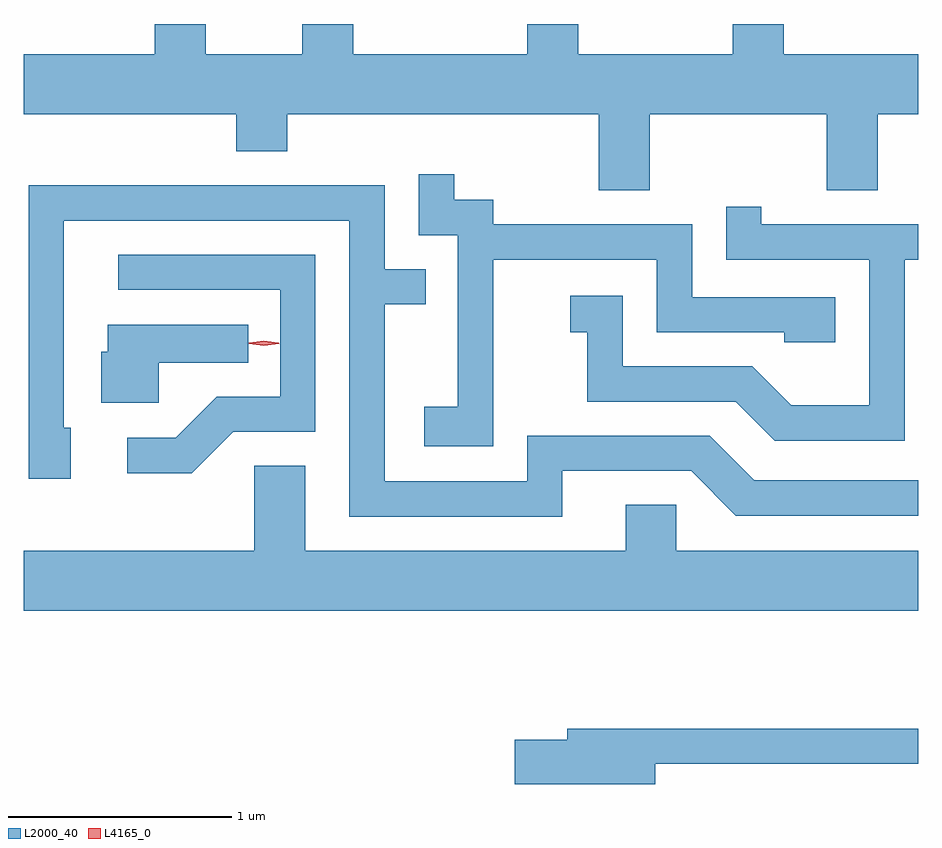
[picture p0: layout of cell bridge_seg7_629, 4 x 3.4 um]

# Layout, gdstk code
import gdstk
lib = gdstk.Library(unit=1e-6, precision=1e-09)
def P(c, l, *ps):  # polygons
    for p in ps: c.add(gdstk.Polygon(p, *l))
L2000_40 = (2000, 40)
L4165_0 = (4165, 0)

bridge_seg7_629 = lib.new_cell('bridge_seg7_629')
P(bridge_seg7_629, L2000_40, [(638.039,1696.556),(638.831,1696.556),(638.831,1696.216),(639.059,1696.216),(639.059,1696.556),(639.24,1696.556),(639.24,1696.824),(638.639,1696.824),(638.639,1696.96),(638.411,1696.96),(638.411,1696.824),(637.719,1696.824),(637.719,1696.96),(637.491,1696.96),(637.491,1696.824),(636.714,1696.824),(636.714,1696.96),(636.486,1696.96),(636.486,1696.824),(636.054,1696.824),(636.054,1696.96),(635.826,1696.96),(635.826,1696.824),(635.24,1696.824),(635.24,1696.556),(636.191,1696.556),(636.191,1696.391),(636.419,1696.391),(636.419,1696.556),(637.811,1696.556),(637.811,1696.216),(638.039,1696.216)],
  [(637.339,1695.906),(638.071,1695.906),(638.071,1695.581),(638.641,1695.581),(638.641,1695.536),(638.869,1695.536),(638.869,1695.739),(638.229,1695.739),(638.229,1696.064),(637.339,1696.064),(637.339,1696.174),(637.164,1696.174),(637.164,1696.288),(637.006,1696.288),(637.006,1696.016),(637.181,1696.016),(637.181,1695.249),(637.031,1695.249),(637.031,1695.071),(637.339,1695.071)],
  [(637.649,1694.961),(638.224,1694.961),(638.424,1694.761),(639.24,1694.761),(639.24,1694.919),(638.507,1694.919),(638.307,1695.119),(637.491,1695.119),(637.491,1694.914),(636.854,1694.914),(636.854,1695.706),(637.038,1695.706),(637.038,1695.864),(636.854,1695.864),(636.854,1696.239),(635.261,1696.239),(635.261,1694.926),(635.449,1694.926),(635.449,1695.154),(635.419,1695.154),(635.419,1696.081),(636.696,1696.081),(636.696,1694.756),(637.649,1694.756)],
  [(639.179,1695.906),(639.24,1695.906),(639.24,1696.064),(638.539,1696.064),(638.539,1696.143),(638.381,1696.143),(638.381,1695.906),(639.021,1695.906),(639.021,1695.254),(638.672,1695.254),(638.497,1695.429),(637.919,1695.429),(637.919,1695.744),(637.683,1695.744),(637.683,1695.581),(637.761,1695.581),(637.761,1695.271),(638.424,1695.271),(638.599,1695.096),(639.179,1695.096)],
  [(636.177,1695.136),(636.544,1695.136),(636.544,1695.929),(635.663,1695.929),(635.663,1695.771),(636.386,1695.771),(636.386,1695.294),(636.104,1695.294),(635.919,1695.109),(635.703,1695.109),(635.703,1694.951),(635.992,1694.951)],
  [(635.844,1695.446),(636.243,1695.446),(636.243,1695.614),(635.616,1695.614),(635.616,1695.494),(635.586,1695.494),(635.586,1695.266),(635.844,1695.266)],
  [(639.24,1694.604),(638.159,1694.604),(638.159,1694.809),(637.931,1694.809),(637.931,1694.604),(636.499,1694.604),(636.499,1694.984),(636.271,1694.984),(636.271,1694.604),(635.24,1694.604),(635.24,1694.336),(639.24,1694.336)],
  [(638.064,1693.651),(639.24,1693.651),(639.24,1693.809),(637.671,1693.809),(637.671,1693.759),(637.436,1693.759),(637.436,1693.561),(638.064,1693.561)])
P(bridge_seg7_629, L4165_0, [(636.314,1695.521),(636.245,1695.53),(636.244,1695.53),(636.245,1695.531),(636.314,1695.54),(636.383,1695.531),(636.383,1695.531),(636.383,1695.53)],
  [(636.314,1695.524),(636.248,1695.533),(636.247,1695.534),(636.248,1695.534),(636.314,1695.544),(636.38,1695.534),(636.381,1695.534),(636.38,1695.533)])

lib.write_gds('bridge_seg7_629.gds')
